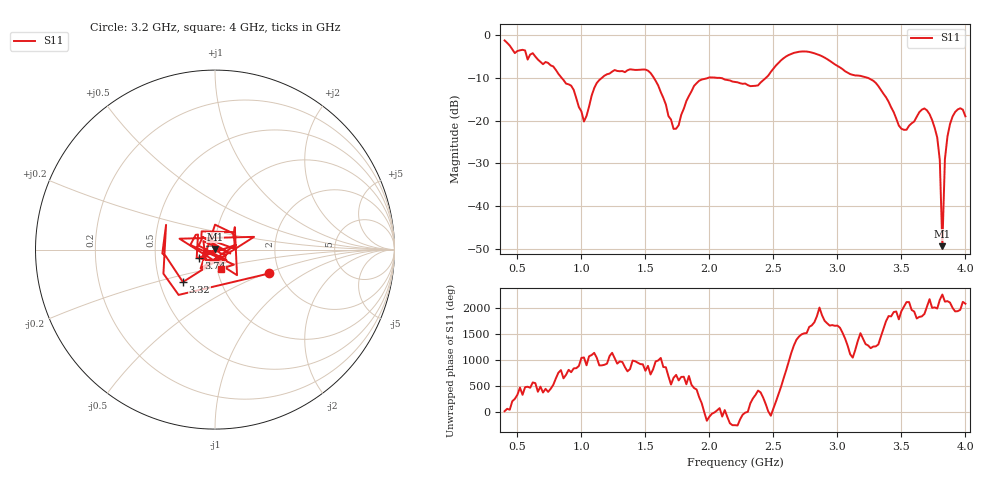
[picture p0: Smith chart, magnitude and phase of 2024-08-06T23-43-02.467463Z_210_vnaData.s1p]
!Created with skrf (http://scikit-rf.org).
# Hz S RI R 50.0
!freq ReS11 ImS11
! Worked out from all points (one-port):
!   181 points, 400 MHz to 4 GHz, reference 50 ohm
!   lowest |S11| = -49.4 dB at 3.82 GHz (marker M1), VSWR 1.01, Z = 49.9 + j0.331 ohm
!   |S11| at or under -10 dB: 1.567 GHz to 1.987 GHz (419.7 MHz wide, 23.6 % of centre); 2.089 GHz to 2.44 GHz (350.7 MHz wide, 15.5 % of centre); 3.241 GHz to end of sweep (the widest 3 of 4)
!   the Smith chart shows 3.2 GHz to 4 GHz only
!   S11 on the Smith chart (normalised r, x): 3.2 GHz: 1.76, -0.53; 3.32 GHz: 0.66, -0.25; 3.74 GHz: 0.83, -0.08; 4 GHz: 1.04, -0.23
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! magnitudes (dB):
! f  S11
! 400 MHz  -1.2
! 860 MHz  -10.5
! 940 MHz  -12.8
! 1.02 GHz  -20.2
! 1.12 GHz  -11.2
! 1.3 GHz  -8.4
! 1.54 GHz  -8.8
! 1.72 GHz  -21.9
! 1.76 GHz  -21.1
! 1.82 GHz  -15.4
! 1.92 GHz  -10.6
! 2.2 GHz  -10.9
! 2.38 GHz  -11.7
! 2.66 GHz  -4.1
! 3.1 GHz  -9.1
! 3.2 GHz  -9.7
! 3.32 GHz  -11.9
! 3.48 GHz  -21.1
! 3.56 GHz  -21.2
! 3.68 GHz  -17.1
! 3.74 GHz  -19.8
! 3.78 GHz  -24.0
! 3.8 GHz  -29.2
! 3.82 GHz  -49.4
! 3.84 GHz  -29.0
! 3.86 GHz  -23.7
! 3.92 GHz  -18.0
! 4 GHz  -19.0
